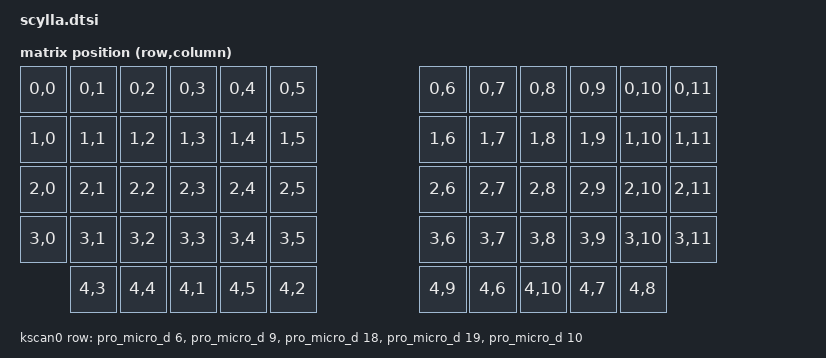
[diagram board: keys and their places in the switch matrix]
#include <dt-bindings/zmk/matrix_transform.h>

/ {
	chosen {
		zmk,kscan = &kscan0;
		zmk,matrix_transform = &default_transform;
	};

	default_transform: keymap_transform_0 {
		compatible = "zmk,matrix-transform";
		columns = <12>;
		rows = <5>;
// | k00  | k01  | k02  | k03  | k04  | k05  |                  | k55  | k54  | k53  | k52  | k51  | k50  |
// | k10  | k11  | k12  | k13  | k14  | k15  |                  | k65  | k64  | k63  | k62  | k61  | k60  |
// | k20  | k21  | k22  | k23  | k24  | k25  |                  | k75  | k74  | k73  | k72  | k71  | k70  |
// | k30  | k31  | k32  | k33  | k34  | k35  |                  | k85  | k84  | k83  | k82  | k81  | k80  |
//        | k41  | k42  | k43  | k44  | k45  |                  | k91  | k92  | k93  | k94  | k95  |

		map = <
RC(0,0) RC(0,1) RC(0,2) RC(0,3) RC(0,4) RC(0,5)                 RC(0,6) RC(0,7) RC(0,8) RC(0,9) RC(0,10) RC(0,11)
RC(1,0) RC(1,1) RC(1,2) RC(1,3) RC(1,4) RC(1,5)                 RC(1,6) RC(1,7) RC(1,8) RC(1,9) RC(1,10) RC(1,11)
RC(2,0) RC(2,1) RC(2,2) RC(2,3) RC(2,4) RC(2,5)                 RC(2,6) RC(2,7) RC(2,8) RC(2,9) RC(2,10) RC(2,11)
RC(3,0) RC(3,1) RC(3,2) RC(3,3) RC(3,4) RC(3,5)                 RC(3,6) RC(3,7) RC(3,8) RC(3,9) RC(3,10) RC(3,11)
        RC(4,3) RC(4,4) RC(4,1) RC(4,5) RC(4,2)                 RC(4,9) RC(4,6) RC(4,10) RC(4,7) RC(4,8)
		>;
	};

// | k00  | k01  | k02  | k03  | k04  | k05  |                  | k65  | k64  | k63  | k62  | k61  | k60  |
// | k10  | k11  | k12  | k13  | k14  | k15  |                  | k75  | k74  | k73  | k72  | k71  | k70  |
// | k20  | k21  | k22  | k23  | k24  | k25  |                  | k85  | k84  | k83  | k82  | k81  | k80  |
// | k30  | k31  | k32  | k33  | k34  | k35  |                  | k95  | k94  | k93  | k92  | k91  | k90  |
//                      | k43  | k44  | k42  |                  | k101  | k104  | k103  |
//                      | k53  | k54  | k52  |                  | k111  | k114  | k113  |
// 	skeletyl_transform: keymap_transform_1 {
// 		compatible = "zmk,matrix-transform";
// 		columns = <10>;
// 		rows = <4>;
// 		map = <
// RC(0,1) RC(0,2) RC(0,3) RC(0,4) RC(0,5)                 RC(0,6) RC(0,7) RC(0,8) RC(0,9) RC(0,10)
// RC(1,1) RC(1,2) RC(1,3) RC(1,4) RC(1,5)                 RC(1,6) RC(1,7) RC(1,8) RC(1,9) RC(1,10)
// RC(2,1) RC(2,2) RC(2,3) RC(2,4) RC(2,5)                 RC(2,6) RC(2,7) RC(2,8) RC(2,9) RC(2,10)
//                 RC(3,3) RC(3,4) RC(3,1)                 RC(3,10) RC(3,7) RC(3,8)
// 		>;
// 	};

	kscan0: kscan {
		compatible = "zmk,kscan-gpio-matrix";
		label = "KSCAN";

		diode-direction = "row2col";
		row-gpios
        
        
			= <&pro_micro_d 6 (GPIO_ACTIVE_HIGH)>
			, <&pro_micro_d 9 (GPIO_ACTIVE_HIGH)>
            , <&pro_micro_d 18 (GPIO_ACTIVE_HIGH)>
            , <&pro_micro_d 19 (GPIO_ACTIVE_HIGH)>
            , <&pro_micro_d 10 (GPIO_ACTIVE_HIGH)>
			;

	};

	// TODO: RGB node(s)
};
